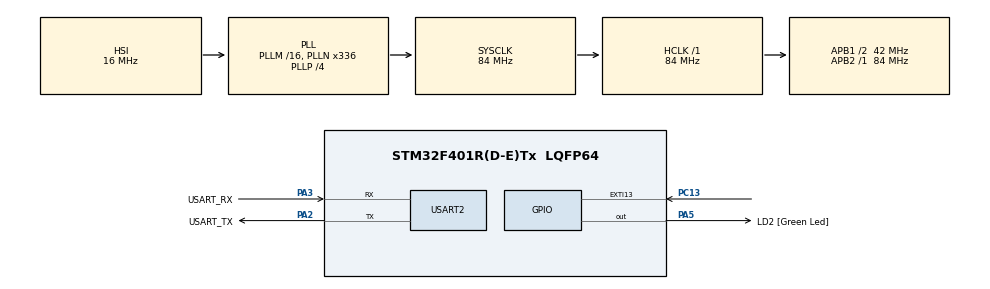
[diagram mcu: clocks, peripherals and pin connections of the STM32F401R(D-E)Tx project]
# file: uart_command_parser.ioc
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Mcu.Family=STM32F4
Mcu.Name=STM32F401R(D-E)Tx
Mcu.Package=LQFP64
NVIC.EXTI15_10_IRQn=true\:0\:0\:false\:false\:true\:true\:true\:true
NVIC.PriorityGroup=NVIC_PRIORITYGROUP_4
NVIC.USART2_IRQn=true\:0\:0\:false\:false\:true\:true\:true\:true
PA13.GPIO_Label=TMS
PA13.Mode=Trace_Asynchronous_SW
PA13.Signal=SYS_JTMS-SWDIO
PA14.GPIO_Label=TCK
PA14.Mode=Trace_Asynchronous_SW
PA14.Signal=SYS_JTCK-SWCLK
PA2.GPIO_Label=USART_TX
PA2.GPIO_Mode=GPIO_MODE_AF_PP
PA2.GPIO_PuPd=GPIO_NOPULL
PA2.GPIO_Speed=GPIO_SPEED_FREQ_LOW
PA2.Mode=Asynchronous
PA2.Signal=USART2_TX
PA3.GPIO_Label=USART_RX
PA3.GPIO_Mode=GPIO_MODE_AF_PP
PA3.GPIO_PuPd=GPIO_NOPULL
PA3.GPIO_Speed=GPIO_SPEED_FREQ_LOW
PA3.Mode=Asynchronous
PA3.Signal=USART2_RX
PA5.GPIO_Label=LD2 [Green Led]
PA5.GPIO_Mode=GPIO_MODE_OUTPUT_PP
PA5.GPIO_PuPd=GPIO_NOPULL
PA5.GPIO_Speed=GPIO_SPEED_FREQ_LOW
PA5.Signal=GPIO_Output
PB3.GPIO_Label=SWO
PB3.Mode=Trace_Asynchronous_SW
PB3.Signal=SYS_JTDO-SWO
PC13-ANTI_TAMP.GPIO_ModeDefaultEXTI=GPIO_MODE_IT_RISING_FALLING
PC13-ANTI_TAMP.GPIO_PuPd=GPIO_PULLUP
PC13-ANTI_TAMP.Signal=GPXTI13
PC14-OSC32_IN.Mode=LSE-External-Oscillator
PC14-OSC32_IN.Signal=RCC_OSC32_IN
PC15-OSC32_OUT.Mode=LSE-External-Oscillator
PC15-OSC32_OUT.Signal=RCC_OSC32_OUT
PH0\ -\ OSC_IN.Mode=HSE-External-Clock-Source
PH0\ -\ OSC_IN.Signal=RCC_OSC_IN
PH1\ -\ OSC_OUT.Mode=HSE-External-Clock-Source
PH1\ -\ OSC_OUT.Signal=RCC_OSC_OUT
ProjectManager.HeapSize=0x200
ProjectManager.StackSize=0x400
ProjectManager.TargetToolchain=STM32CubeIDE
RCC.48MHZClocksFreq_Value=48000000
RCC.AHBFreq_Value=84000000
RCC.APB1CLKDivider=RCC_HCLK_DIV2
RCC.APB1Freq_Value=42000000
RCC.APB1TimFreq_Value=84000000
RCC.APB2Freq_Value=84000000
RCC.APB2TimFreq_Value=84000000
RCC.CortexFreq_Value=84000000
RCC.HCLKFreq_Value=84000000
RCC.HSE_VALUE=8000000
RCC.HSI_VALUE=16000000
RCC.PLLN=336
RCC.PLLP=RCC_PLLP_DIV4
RCC.PLLQ=7
RCC.SYSCLKFreq_VALUE=84000000
RCC.SYSCLKSource=RCC_SYSCLKSOURCE_PLLCLK
RCC.VCOOutputFreq_Value=336000000
USART2.VirtualMode=VM_ASYNC
board=NUCLEO-F401RE

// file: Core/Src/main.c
/* USER CODE BEGIN Header */
/**
 ******************************************************************************
 * @file           : main.c
 * @brief          : Main program body
 ******************************************************************************
 * @attention
 *
 * Copyright (c) 2026 STMicroelectronics.
 * All rights reserved.
 *
 * This software is licensed under terms that can be found in the LICENSE file
 * in the root directory of this software component.
 * If no LICENSE file comes with this software, it is provided AS-IS.
 *
 ******************************************************************************
 */
/* USER CODE END Header */
#include "main.h"

/* USER CODE BEGIN Includes */
#include <stdio.h>
#include <string.h>
/* USER CODE END Includes */

/* USER CODE BEGIN PTD */
// Non-blocking timer pattern — the most important pattern in bare-metal embedded
typedef struct {
    uint32_t last_tick;
    uint32_t period_ms;
    uint8_t  enabled;
} SoftTimer;

// Check if timer has expired — non-blocking
uint8_t timer_expired(SoftTimer *t) {
    if (!t->enabled) return 0;
    if ((HAL_GetTick() - t->last_tick) >= t->period_ms) {
        t->last_tick = HAL_GetTick();
        return 1;
    }
    return 0;
}
/* USER CODE END PTD */

UART_HandleTypeDef huart2;

/* USER CODE BEGIN PV */
/* Global variables */
uint8_t rx_byte;
char rx_buffer[64];
uint8_t rx_index = 0;
volatile uint8_t cmd_ready = 0;
volatile uint8_t button_flag = 0;
volatile uint32_t button_press_count = 0;
volatile uint8_t led_state = 0;

/* Software timers — global so process_command() can access them */
SoftTimer led_timer     = {0, 500,  1};
SoftTimer status_timer  = {0, 3000, 1};
SoftTimer counter_timer = {0, 1000, 1};
/* USER CODE END PV */

void SystemClock_Config(void);
static void MX_GPIO_Init(void);
static void MX_USART2_UART_Init(void);
/* USER CODE BEGIN PFP */
void process_command(char *cmd);
/* USER CODE END PFP */

/* USER CODE BEGIN 0 */
//UART Receive Callback
void HAL_UART_RxCpltCallback(UART_HandleTypeDef *huart)
{
    if (huart->Instance == USART2)
    {
        uint8_t received = rx_byte;

        // Re-arm FIRST
        HAL_UART_Receive_IT(&huart2, &rx_byte, 1);

        // NO unconditional echo here anymore

        if (received == '\r')
        {
            rx_buffer[rx_index] = '\0';

            if (rx_index > 0)
            {
                cmd_ready = 1;
            }

            rx_index = 0;

            // Move to new line
            while (!(USART2->SR & USART_SR_TXE));
            USART2->DR = '\r';
            while (!(USART2->SR & USART_SR_TXE));
            USART2->DR = '\n';
        }
        else if (received == '\n')
        {
            // Ignore
        }
        else if (received == '\b' || received == 0x7F)
        {
            if (rx_index > 0)
            {
                rx_index--;
                rx_buffer[rx_index] = '\0';

                // Erase on terminal — no echo of \b or 0x7F itself
                while (!(USART2->SR & USART_SR_TXE));
                USART2->DR = '\b';
                while (!(USART2->SR & USART_SR_TXE));
                USART2->DR = ' ';
                while (!(USART2->SR & USART_SR_TXE));
                USART2->DR = '\b';
            }
            // If rx_index == 0, do nothing — already at start of line
        }
        else if (received >= 0x20 && received <= 0x7E)
        {
            // Only echo printable ASCII characters
            while (!(USART2->SR & USART_SR_TXE));
            USART2->DR = received;

            if (rx_index < sizeof(rx_buffer) - 1)
            {
                rx_buffer[rx_index++] = received;
            }
            else
            {
                // Buffer full
                while (!(USART2->SR & USART_SR_TXE));
                USART2->DR = '\a';
            }
        }
        // All other control characters are silently ignored
    }
}
void process_command(char *cmd)
{
	printf("\r\n");  // newline after echoed command
    if (strcmp(cmd, "help") == 0)
    {
        printf("Available Commands\r\n");
        printf("------------------\r\n");
        printf("help      - Show command list\r\n");
        printf("led on    - Turn LED ON\r\n");
        printf("led off   - Turn LED OFF\r\n");
        printf("status    - Display system status\r\n");
        printf("version   - Firmware version\r\n");
        printf("fast      - LED blink: FAST (100ms)\r\n");
        printf("slow      - LED blink: SLOW (1000ms)\r\n");
        printf("stop      - LED blink: STOPPED\r\n");
        printf("start     - LED blink: STARTED\r\n");
    }
    else if (strcmp(cmd, "led on") == 0)
    {
        HAL_GPIO_WritePin(LD2_GPIO_Port,
                          LD2_Pin,
                          GPIO_PIN_SET);

        printf("LED is ON\r\n");
    }
    else if (strcmp(cmd, "led off") == 0)
    {
        HAL_GPIO_WritePin(LD2_GPIO_Port,
                          LD2_Pin,
                          GPIO_PIN_RESET);

        printf("LED is OFF\r\n");
    }
    else if (strcmp(cmd, "status") == 0)
    {
        GPIO_PinState led =
            HAL_GPIO_ReadPin(LD2_GPIO_Port, LD2_Pin);

        printf("System Status\r\n");
        printf("-------------\r\n");
        printf("Uptime        : %lu ms\r\n", HAL_GetTick());
        printf("LED State     : %s\r\n", led ? "ON" : "OFF");
    }
    else if (strcmp(cmd, "version") == 0)
    {
        printf("UART CLI Demo v1.0\r\n");
    }
    else if (strcmp(cmd, "fast") == 0) {
        led_timer.period_ms = 100;
        printf("LED blink: FAST (100ms)\r\n");
    }
    else if (strcmp(cmd, "slow") == 0) {
        led_timer.period_ms = 1000;
        printf("LED blink: SLOW (1000ms)\r\n");
    }
    else if (strcmp(cmd, "stop") == 0) {
        led_timer.enabled = 0;
        printf("LED blink: STOPPED\r\n");
    }
    else if (strcmp(cmd, "start") == 0) {
        led_timer.enabled = 1;
        led_timer.period_ms = 500;
        printf("LED blink: STARTED (500ms)\r\n");
    }
    else
    {
        printf("Unknown Command\r\n");
        printf("Type 'help' for available commands\r\n");
    }

    printf("> ");  // prompt for next command

}
/* USER CODE END 0 */

int main(void) {

	/* MCU Configuration--------------------------------------------------------*/

	/* Reset of all peripherals, Initializes the Flash interface and the Systick. */
	HAL_Init();

	/* Configure the system clock */
	SystemClock_Config();

	/* Initialize all configured peripherals */
	MX_GPIO_Init();
	MX_USART2_UART_Init();
	/* USER CODE BEGIN 2 */
	// Arm the UART receive interrupt — receive 1 byte into rx_byte

	HAL_UART_Receive_IT(&huart2, &rx_byte, 1);
	uint32_t counter = 0;
	setvbuf(stdout, NULL, _IONBF, 0);
	printf("\r\n");
	printf("STM32 UART Command Line Interface\r\n");
	printf("Type 'help' for commands.\r\n");
	printf("\r\n ");
	printf("> ");  // initial prompt
	/* USER CODE END 2 */

	/* Infinite loop */
	/* USER CODE BEGIN WHILE */
	while (1) {

		if (cmd_ready) {
			process_command(rx_buffer);
			cmd_ready = 0;
			rx_index = 0;
		}
        // Blink LED every 500ms — no blocking
        if (timer_expired(&led_timer)) {
            HAL_GPIO_TogglePin(GPIOA, GPIO_PIN_5);
        }

        // Only print auto-status if user is NOT mid-command
        if (timer_expired(&status_timer)) {
            if (rx_index == 0) {   // only print if buffer is empty (not mid-typing)
                printf("\r\n[AUTO] Uptime: %lus\r\n> ", HAL_GetTick()/1000);
            }
        }

        // Increment counter every second
        if (timer_expired(&counter_timer)) {
            counter++;
        }
	}
	/* USER CODE END 3 */
}

void SystemClock_Config(void) {
	RCC_OscInitTypeDef RCC_OscInitStruct = { 0 };
	RCC_ClkInitTypeDef RCC_ClkInitStruct = { 0 };

	/** Configure the main internal regulator output voltage
	 */
	__HAL_RCC_PWR_CLK_ENABLE();
	__HAL_PWR_VOLTAGESCALING_CONFIG(PWR_REGULATOR_VOLTAGE_SCALE2);

	/** Initializes the RCC Oscillators according to the specified parameters
	 * in the RCC_OscInitTypeDef structure.
	 */
	RCC_OscInitStruct.OscillatorType = RCC_OSCILLATORTYPE_HSI;
	RCC_OscInitStruct.HSIState = RCC_HSI_ON;
	RCC_OscInitStruct.HSICalibrationValue = RCC_HSICALIBRATION_DEFAULT;
	RCC_OscInitStruct.PLL.PLLState = RCC_PLL_ON;
	RCC_OscInitStruct.PLL.PLLSource = RCC_PLLSOURCE_HSI;
	RCC_OscInitStruct.PLL.PLLM = 16;
	RCC_OscInitStruct.PLL.PLLN = 336;
	RCC_OscInitStruct.PLL.PLLP = RCC_PLLP_DIV4;
	RCC_OscInitStruct.PLL.PLLQ = 7;
	if (HAL_RCC_OscConfig(&RCC_OscInitStruct) != HAL_OK) {
		Error_Handler();
	}

	/** Initializes the CPU, AHB and APB buses clocks
	 */
	RCC_ClkInitStruct.ClockType = RCC_CLOCKTYPE_HCLK | RCC_CLOCKTYPE_SYSCLK
			| RCC_CLOCKTYPE_PCLK1 | RCC_CLOCKTYPE_PCLK2;
	RCC_ClkInitStruct.SYSCLKSource = RCC_SYSCLKSOURCE_PLLCLK;
	RCC_ClkInitStruct.AHBCLKDivider = RCC_SYSCLK_DIV1;
	RCC_ClkInitStruct.APB1CLKDivider = RCC_HCLK_DIV2;
	RCC_ClkInitStruct.APB2CLKDivider = RCC_HCLK_DIV1;

	if (HAL_RCC_ClockConfig(&RCC_ClkInitStruct, FLASH_LATENCY_2) != HAL_OK) {
		Error_Handler();
	}
}

static void MX_USART2_UART_Init(void) {

	huart2.Instance = USART2;
	huart2.Init.BaudRate = 115200;
	huart2.Init.WordLength = UART_WORDLENGTH_8B;
	huart2.Init.StopBits = UART_STOPBITS_1;
	huart2.Init.Parity = UART_PARITY_NONE;
	huart2.Init.Mode = UART_MODE_TX_RX;
	huart2.Init.HwFlowCtl = UART_HWCONTROL_NONE;
	huart2.Init.OverSampling = UART_OVERSAMPLING_16;
	if (HAL_UART_Init(&huart2) != HAL_OK) {
		Error_Handler();
	}

}

static void MX_GPIO_Init(void) {
	GPIO_InitTypeDef GPIO_InitStruct = { 0 };

	/* GPIO Ports Clock Enable */
	__HAL_RCC_GPIOC_CLK_ENABLE();
	__HAL_RCC_GPIOH_CLK_ENABLE();
	__HAL_RCC_GPIOA_CLK_ENABLE();
	__HAL_RCC_GPIOB_CLK_ENABLE();

	/*Configure GPIO pin Output Level */
	HAL_GPIO_WritePin(LD2_GPIO_Port, LD2_Pin, GPIO_PIN_RESET);

	/*Configure GPIO pin : PC13 */
	GPIO_InitStruct.Pin = GPIO_PIN_13;
	GPIO_InitStruct.Mode = GPIO_MODE_IT_FALLING;
	GPIO_InitStruct.Pull = GPIO_PULLUP;
	HAL_GPIO_Init(GPIOC, &GPIO_InitStruct);

	/*Configure GPIO pin : LD2_Pin */
	GPIO_InitStruct.Pin = LD2_Pin;
	GPIO_InitStruct.Mode = GPIO_MODE_OUTPUT_PP;
	GPIO_InitStruct.Pull = GPIO_NOPULL;
	GPIO_InitStruct.Speed = GPIO_SPEED_FREQ_LOW;
	HAL_GPIO_Init(LD2_GPIO_Port, &GPIO_InitStruct);

	/* EXTI interrupt init*/
	HAL_NVIC_SetPriority(EXTI15_10_IRQn, 0, 0);
	HAL_NVIC_EnableIRQ(EXTI15_10_IRQn);

}

/* USER CODE BEGIN 4 */
int __io_putchar(int ch) {
	HAL_UART_Transmit(&huart2, (uint8_t*) &ch, 1, HAL_MAX_DELAY);
	return ch;
}

/* USER CODE END 4 */

void Error_Handler(void) {
	__disable_irq();
	while (1) {
	}
}
